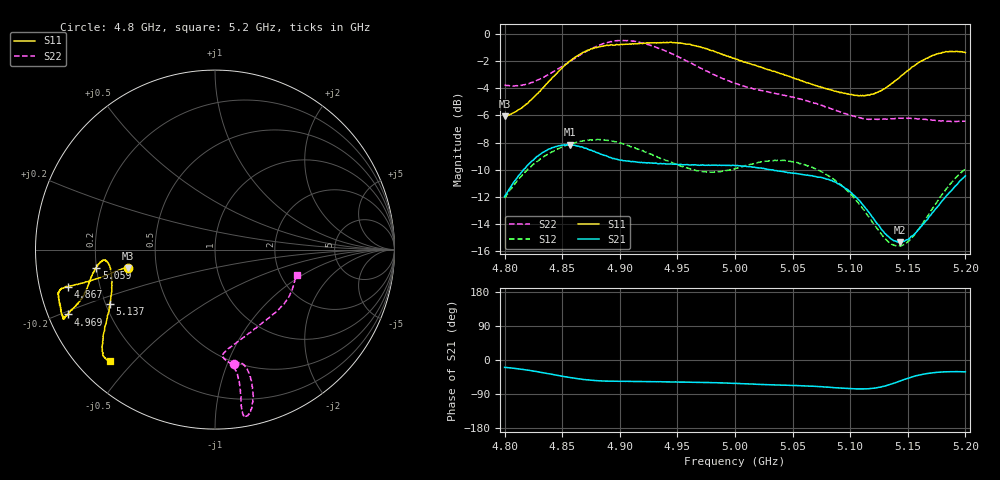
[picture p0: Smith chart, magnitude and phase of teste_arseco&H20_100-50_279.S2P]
! Network Analyzer HP8722D
! Hewlett-Packard
! Data name: Linha & Wilkinson
! Saver's name: Rodrigo Anjos
! Comments: Teste da utilização de aquisição
! continua pelo VNA HP8722D
! Time and date: 6/5/2025 14:53
!  Frequency  S11  S21  S12  S22
# HZ  S  MA R 50
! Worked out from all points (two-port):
!   401 points, 4.8 GHz to 5.2 GHz, reference 50 ohm
!   highest |S21| = -8.16 dB at 4.857 GHz (marker M1); lowest = -15.3 dB at 5.143 GHz (marker M2)
!   |S21| within 3 dB of the highest: 4.806 GHz to 5.092 GHz (286.4 MHz wide, 5.79 % of centre); 5.191715 GHz to end of sweep
!   lowest |S11| = -6.1 dB at 4.8 GHz (marker M3), VSWR 2.97, Z = 17 - j4.58 ohm
!   |S11| at or under -10 dB: nowhere
!   |S22| runs from -6.5 to -0.5 dB; largest |S21 - S12| = 0.62
!   S11 on the Smith chart (normalised r, x): 4.8 GHz: 0.34, -0.09; 4.867 GHz: 0.08, -0.12; 4.969 GHz: 0.06, -0.21; 5.059 GHz: 0.20, -0.07; 5.137 GHz: 0.22, -0.23; 5.2 GHz: 0.09, -0.43
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4.8e9  0.4966 -168.2  0.2523 -19.6  0.2489 -140.9  0.6475 -80.4
4.829e9  0.604 -166.9  0.3553 -31.3  0.3412 -145.1  0.6774 -75.3
4.857e9  0.7958 -165.9  0.3906 -46.4  0.3932 -150.3  0.7922 -74.7
4.867e9  0.8473 -165.9  0.3843 -50.9  0.4025 -152.0  0.843 -75.3
4.88e9  0.8879 -165.6  0.3658 -54.5  0.4083 -154.1  0.9006 -76.7
4.899e9  0.9099 -162.9  0.3441 -56.5  0.398 -156.7  0.9431 -79.1
4.914e9  0.9179 -159.6  0.338 -56.5  0.3786 -157.1  0.9372 -80.3
4.934e9  0.9253 -156.5  0.3328 -57.5  0.3505 -155.6  0.8831 -80.5
4.969e9  0.8959 -156.2  0.3281 -59.0  0.3126 -147.3  0.7521 -79.7
5e9  0.8091 -159.1  0.3276 -61.8  0.3196 -137.2  0.6569 -81.3
5.034e9  0.7274 -165.3  0.3145 -65.8  0.3423 -134.3  0.604 -85.7
5.059e9  0.6681 -171.4  0.3036 -68.2  0.332 -136.0  0.5723 -84.4
5.067e9  0.6515 -173.0  0.301 -69.1  0.3233 -136.7  0.5579 -82.7
5.083e9  0.6224 -174.6  0.2889 -72.3  0.2973 -138.2  0.5305 -76.9
5.101e9  0.598 -172.0  0.2604 -75.8  0.2553 -138.8  0.5011 -66.5
5.118e9  0.5989 -164.4  0.2157 -75.2  0.2069 -134.6  0.4848 -54.2
5.134e9  0.646 -154.3  0.1784 -65.2  0.1705 -120.6  0.4867 -43.4
5.137e9  0.6596 -152.5  0.1741 -62.2  0.1677 -116.9  0.4872 -41.5
5.143e9  0.6914 -149.2  0.1713 -55.7  0.1661 -108.9  0.4891 -38.0
5.154e9  0.7563 -144.4  0.1805 -44.4  0.179 -95.0  0.4884 -32.3
5.174e9  0.8383 -138.5  0.2268 -32.8  0.2364 -80.3  0.48 -23.8
5.2e9  0.8526 -133.6  0.3004 -31.3  0.319 -76.9  0.4777 -17.6
